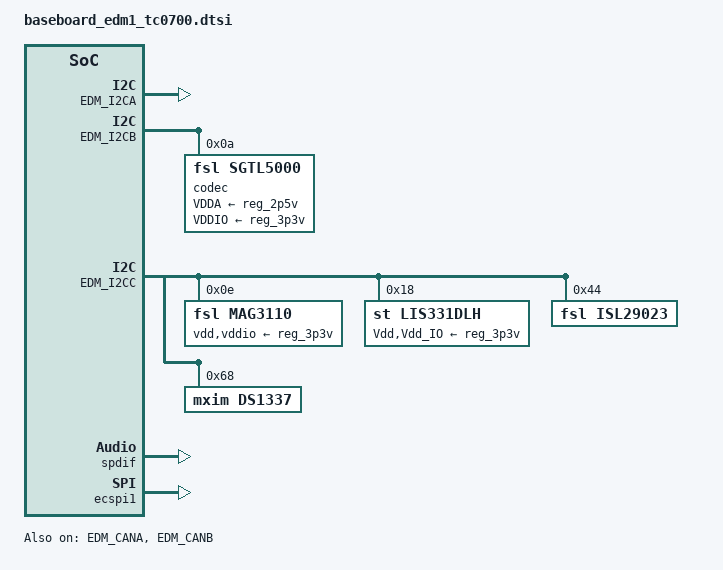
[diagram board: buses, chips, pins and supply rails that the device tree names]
/*
 * Copyright 2018 TechNexion Ltd.
 *
 * Author: Wig Cheng <wig.cheng@technexion.com>
 *         Richard Hu <richard.hu@technexion.com>
 *         Tapani Utriainen <tapani@technexion.com>
 *         Ray Chang <ray.chang@technexion.com>
 *
 * This program is free software; you can redistribute it and/or modify
 * it under the terms of the GNU General Public License version 2 as
 * published by the Free Software Foundation.
 */

#include "tnmacro.h"

/ {
	gpio-edm {
		compatible = "gpio-edm";
		gpio_p259 {
			label = "GPIO_P259";
			gpios = <&EDM_EXT_GPIO_P259 GPIO_ACTIVE_HIGH>;
			dir   = "in";
		};
		gpio_p260 {
			label = "GPIO_P260";
			gpios = <&EDM_EXT_GPIO_P260 GPIO_ACTIVE_HIGH>;
			dir   = "in";
		};
		gpio_p261 {
			label = "GPIO_P261";
			gpios = <&EDM_EXT_GPIO_P261 GPIO_ACTIVE_HIGH>;
			dir   = "out";
		};
		gpio_p262 {
			label = "GPIO_P262";
			gpios = <&EDM_EXT_GPIO_P262 GPIO_ACTIVE_HIGH>;
			dir   = "out";
		};
	};

	sound {
		compatible = "fsl,imx-sgtl5000",
			     "fsl,imx-audio-sgtl5000";
		model = "audio-sgtl5000";
		ssi-controller = <&EDM_AUDA_I2S_CHANNEL>;
		audio-codec = <&codec>;
		audio-routing =
			"MIC_IN", "Mic Jack",
			"Mic Jack", "Mic Bias",
			"Line Out Jack", "HP_OUT";
		mux-int-port = <EDM_AUDA_MUX_INT>;
		mux-ext-port = <EDM_AUDA_MUX_EXT>;
	};
};

&EDM_I2CA {
	status = "okay";
};

&EDM_I2CB {
	status = "okay";

	codec: sgtl5000@0a {
		compatible = "fsl,sgtl5000";
		reg = <0x0a>;
		clocks = <&EDM_AUDA_CLK_SRC>;
		VDDA-supply = <&reg_2p5v>;
		VDDIO-supply = <&reg_3p3v>;
	};
};

&EDM_I2CC {
	status = "okay";

	mag3110@0e {
		compatible = "fsl,mag3110";
		reg = <0x0e>;
		position = <2>;
		vdd-supply = <&reg_3p3v>;
		vddio-supply = <&reg_3p3v>;
	};

	lis331dlh: lis331dlh@18 {
		compatible = "st,lis331dlh", "st,lis3lv02d";
		reg = <0x18>;
		Vdd-supply = <&reg_3p3v>;
		Vdd_IO-supply = <&reg_3p3v>;

		st,click-single-x;
		st,click-single-y;
		st,click-single-z;
		st,click-thresh-x = <10>;
		st,click-thresh-y = <10>;
		st,click-thresh-z = <10>;
		st,irq1-click;
		st,irq2-click;
		st,wakeup-x-lo;
		st,wakeup-x-hi;
		st,wakeup-y-lo;
		st,wakeup-y-hi;
		st,wakeup-z-lo;
		st,wakeup-z-hi;
		st,min-limit-x = <120>;
		st,min-limit-y = <120>;
		st,min-limit-z = <140>;
		st,max-limit-x = <550>;
		st,max-limit-y = <550>;
		st,max-limit-z = <750>;
	};

	isl29023@44 {
		compatible = "fsl,isl29023";
		reg = <0x44>;
		rext = <499>;
	};

	ds1337: rtc@68 {
		compatible = "mxim,ds1337";
		reg = <0x68>;
	};
};

&EDM_CANA {
	status = "okay";
};

&EDM_CANB {
	status = "okay";
};

&spdif {
	status = "okay";
};

&ecspi1 {
	status = "okay";
};
